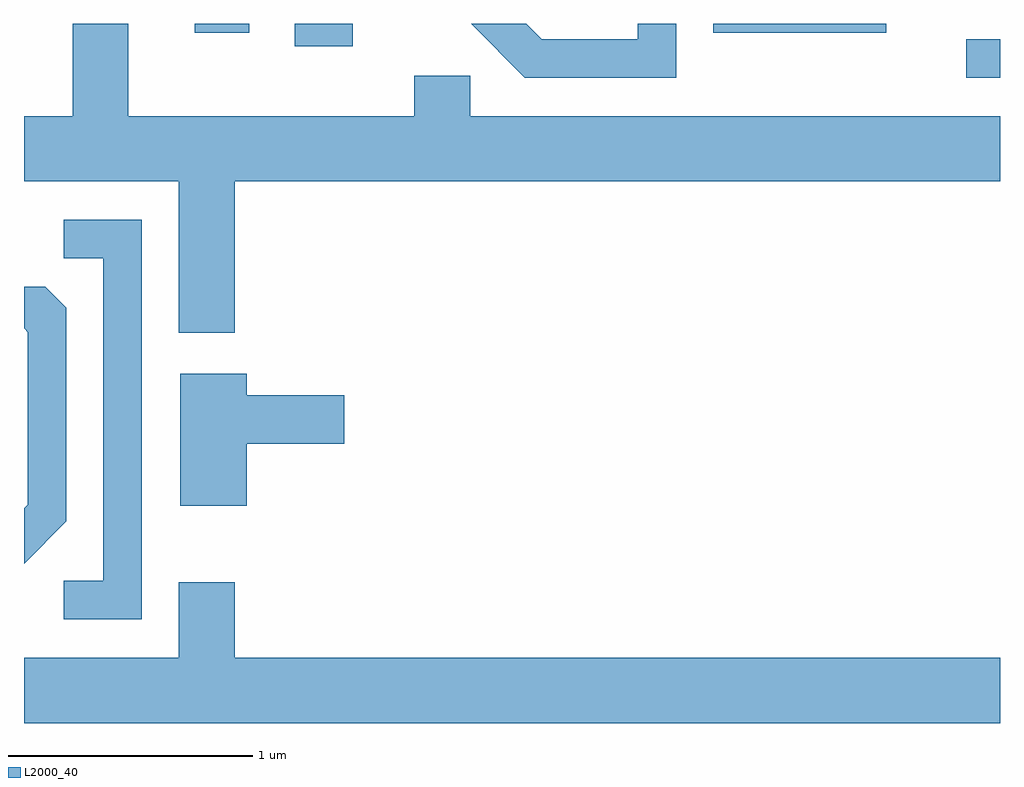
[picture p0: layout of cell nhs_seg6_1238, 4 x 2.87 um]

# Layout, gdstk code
import gdstk
lib = gdstk.Library(unit=1e-6, precision=1e-09)
def R(c, l, rs):  # rectangles x0, y0, x1, y1
    for r in rs: c.add(gdstk.rectangle(r[:2], r[2:], *l))
def P(c, l, *ps):  # polygons
    for p in ps: c.add(gdstk.Polygon(p, *l))
L2000_40 = (2000, 40)

nhs_seg6_1238 = lib.new_cell('nhs_seg6_1238')
R(nhs_seg6_1238, L2000_40, [(225.473,1625.941,225.611,1626.099), (222.721,1626.071,222.958,1626.162), (222.311,1626.126,222.534,1626.162), (224.436,1626.126,225.144,1626.162)])
P(nhs_seg6_1238, L2000_40, [(222.474,1625.516),(225.611,1625.516),(225.611,1625.784),(223.439,1625.784),(223.439,1625.949),(223.211,1625.949),(223.211,1625.784),(222.039,1625.784),(222.039,1626.162),(221.811,1626.162),(221.811,1625.784),(221.611,1625.784),(221.611,1625.516),(222.246,1625.516),(222.246,1624.896),(222.474,1624.896)],
  [(224.284,1626.162),(224.126,1626.162),(224.126,1626.099),(223.732,1626.099),(223.669,1626.162),(223.443,1626.162),(223.664,1625.941),(224.284,1625.941)],
  [(222.094,1625.359),(221.773,1625.359),(221.773,1625.201),(221.936,1625.201),(221.936,1623.879),(221.773,1623.879),(221.773,1623.721),(222.094,1623.721)],
  [(221.784,1624.124),(221.784,1624.999),(221.699,1625.084),(221.611,1625.084),(221.611,1624.914),(221.626,1624.899),(221.626,1624.192),(221.611,1624.177),(221.611,1623.95)],
  [(222.524,1624.441),(222.924,1624.441),(222.924,1624.639),(222.524,1624.639),(222.524,1624.729),(222.251,1624.729),(222.251,1624.186),(222.524,1624.186)],
  [(225.611,1623.564),(222.474,1623.564),(222.474,1623.874),(222.246,1623.874),(222.246,1623.564),(221.611,1623.564),(221.611,1623.296),(225.611,1623.296)])

lib.write_gds('nhs_seg6_1238.gds')
